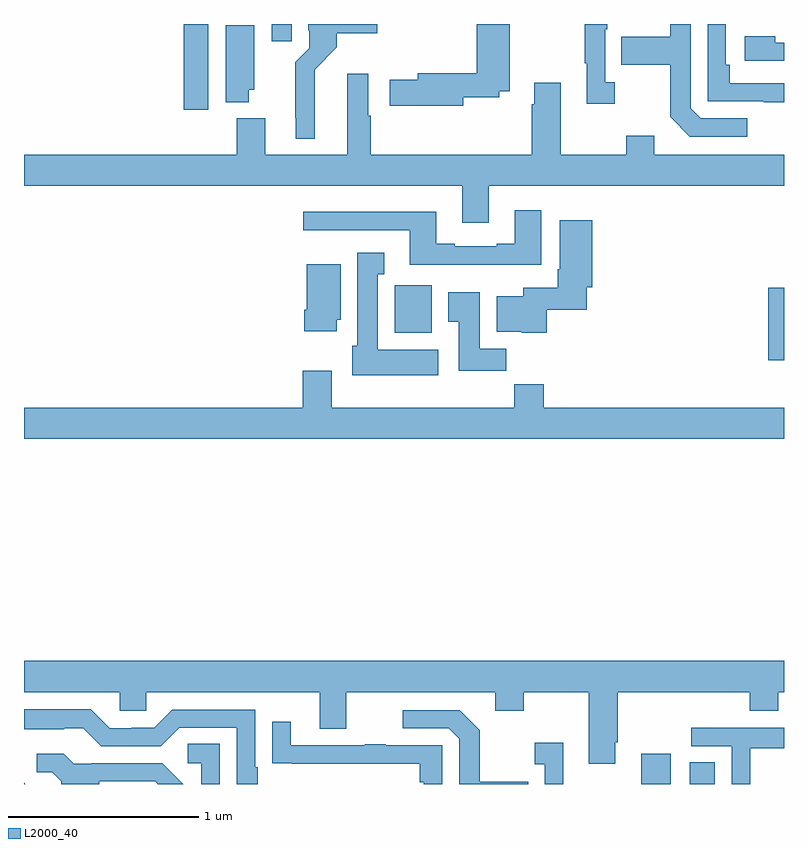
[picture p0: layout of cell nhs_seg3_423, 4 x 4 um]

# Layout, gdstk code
import gdstk
lib = gdstk.Library(unit=1e-6, precision=1e-09)
def R(c, l, rs):  # rectangles x0, y0, x1, y1
    for r in rs: c.add(gdstk.rectangle(r[:2], r[2:], *l))
def P(c, l, *ps):  # polygons
    for p in ps: c.add(gdstk.Polygon(p, *l))
L2000_40 = (2000, 40)

nhs_seg3_423 = lib.new_cell('nhs_seg3_423')
R(nhs_seg3_423, L2000_40, [(134.249,732.4,134.404,732.559), (134.504,732.4,134.635,732.515), (134.918,734.631,135,735.012), (132.951,734.774,133.147,735.024), (131.84,735.948,131.971,736.4), (132.305,736.308,132.409,736.4)])
P(nhs_seg3_423, L2000_40, [(134.11,736.094),(134.058,736.094),(134.058,736.373),(134.071,736.373),(134.071,736.4),(133.95,736.4),(133.95,736.193),(133.961,736.193),(133.961,735.981),(134.11,735.981)],
  [(133.312,736.014),(133.5,736.014),(133.5,736.046),(133.557,736.046),(133.557,736.4),(133.382,736.4),(133.382,736.142),(133.073,736.142),(133.073,736.106),(132.924,736.106),(132.924,735.971),(133.312,735.971)],
  [(132.529,736.16),(132.647,736.278),(132.647,736.352),(132.859,736.352),(132.859,736.4),(132.497,736.4),(132.497,736.366),(132.501,736.366),(132.501,736.272),(132.427,736.198),(132.427,735.907),(132.431,735.907),(132.431,735.797),(132.529,735.797)],
  [(134.806,735.903),(134.562,735.903),(134.508,735.957),(134.508,736.4),(134.4,736.4),(134.4,736.333),(134.143,736.333),(134.143,736.186),(134.4,736.186),(134.4,735.913),(134.505,735.807),(134.806,735.807)],
  [(135,736.089),(134.714,736.089),(134.714,736.186),(134.694,736.186),(134.694,736.4),(134.598,736.4),(134.598,735.993),(134.893,735.993),(134.893,735.988),(135,735.988)],
  [(132.184,736.053),(132.211,736.053),(132.211,736.394),(132.062,736.394),(132.062,735.989),(132.184,735.989)],
  [(135,736.302),(134.954,736.302),(134.954,736.336),(134.793,736.336),(134.793,736.206),(135,736.206)],
  [(133.447,735.548),(135,735.548),(135,735.712),(134.317,735.712),(134.317,735.811),(134.17,735.811),(134.17,735.712),(133.825,735.712),(133.825,736.09),(133.685,736.09),(133.685,735.977),(133.673,735.977),(133.673,735.712),(132.824,735.712),(132.824,735.917),(132.811,735.917),(132.811,736.138),(132.701,736.138),(132.701,735.712),(132.271,735.712),(132.271,735.904),(132.119,735.904),(132.119,735.712),(131,735.712),(131,735.548),(133.307,735.548),(133.307,735.354),(133.447,735.354)],
  [(133.723,735.421),(133.583,735.421),(133.583,735.244),(133.487,735.244),(133.487,735.231),(133.267,735.231),(133.267,735.244),(133.171,735.244),(133.171,735.412),(132.471,735.412),(132.471,735.315),(133.031,735.315),(133.031,735.134),(133.723,735.134)],
  [(133.751,734.896),(133.961,734.896),(133.961,735.014),(133.991,735.014),(133.991,735.367),(133.82,735.367),(133.82,735.109),(133.808,735.109),(133.808,735.012),(133.628,735.012),(133.628,734.968),(133.487,734.968),(133.487,734.78),(133.62,734.78),(133.62,734.774),(133.751,734.774)],
  [(133.18,734.686),(132.862,734.686),(132.862,735.083),(132.895,735.083),(132.895,735.196),(132.755,735.196),(132.755,734.706),(132.728,734.706),(132.728,734.552),(133.18,734.552)],
  [(132.646,734.844),(132.667,734.844),(132.667,735.136),(132.488,735.136),(132.488,734.896),(132.476,734.896),(132.476,734.784),(132.646,734.784)],
  [(133.538,734.692),(133.399,734.692),(133.399,734.989),(133.232,734.989),(133.232,734.833),(133.289,734.833),(133.289,734.574),(133.538,734.574)],
  [(135,734.38),(133.736,734.38),(133.736,734.504),(133.579,734.504),(133.579,734.38),(132.619,734.38),(132.619,734.575),(132.467,734.575),(132.467,734.38),(131,734.38),(131,734.216),(135,734.216)],
  [(134.113,732.619),(134.126,732.619),(134.126,732.884),(134.819,732.884),(134.819,732.785),(134.971,732.785),(134.971,732.884),(135,732.884),(135,733.048),(131,733.048),(131,732.884),(131.505,732.884),(131.505,732.786),(131.643,732.786),(131.643,732.884),(132.557,732.884),(132.557,732.69),(132.697,732.69),(132.697,732.884),(133.481,732.884),(133.481,732.785),(133.629,732.785),(133.629,732.884),(133.973,732.884),(133.973,732.507),(134.113,732.507)],
  [(132.229,732.487),(132.216,732.487),(132.216,732.792),(131.781,732.792),(131.685,732.696),(131.567,732.696),(131.567,732.693),(131.451,732.693),(131.351,732.793),(131,732.793),(131,732.689),(131.213,732.689),(131.213,732.693),(131.313,732.693),(131.406,732.6),(131.721,732.6),(131.817,732.696),(132.12,732.696),(132.12,732.4),(132.229,732.4)],
  [(133.655,732.411),(133.399,732.411),(133.399,732.683),(133.293,732.789),(132.993,732.789),(132.993,732.693),(133.236,732.693),(133.29,732.639),(133.29,732.4),(133.655,732.4)],
  [(133.2,732.603),(132.905,732.603),(132.905,732.608),(132.793,732.608),(132.793,732.603),(132.403,732.603),(132.403,732.727),(132.307,732.727),(132.307,732.508),(132.409,732.508),(132.409,732.507),(133.084,732.507),(133.084,732.41),(133.104,732.41),(133.104,732.4),(133.2,732.4)],
  [(134.823,732.588),(135,732.588),(135,732.696),(134.511,732.696),(134.511,732.6),(134.724,732.6),(134.724,732.4),(134.823,732.4)],
  [(133.838,732.616),(133.689,732.616),(133.689,732.503),(133.74,732.503),(133.74,732.4),(133.838,732.4)],
  [(132.03,732.611),(131.862,732.611),(131.862,732.51),(131.934,732.51),(131.934,732.4),(132.03,732.4)],
  [(131.395,732.414),(131.69,732.414),(131.704,732.4),(131.838,732.4),(131.728,732.51),(131.356,732.51),(131.356,732.507),(131.262,732.507),(131.21,732.559),(131.067,732.559),(131.067,732.462),(131.148,732.462),(131.195,732.415),(131.195,732.4),(131.395,732.4)],
  [(131,732.406),(131,732.4),(131.006,732.4)])

lib.write_gds('nhs_seg3_423.gds')
